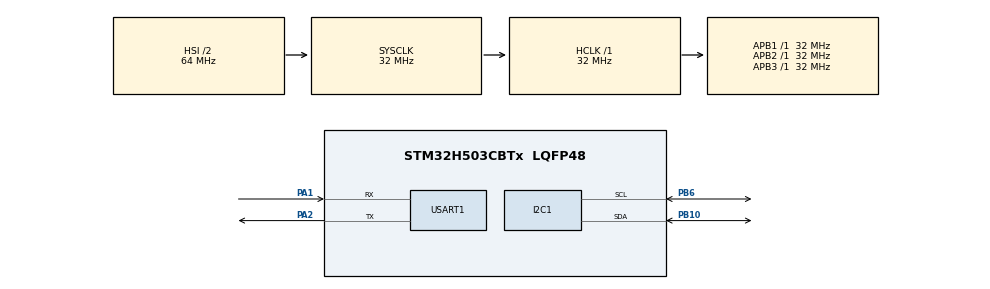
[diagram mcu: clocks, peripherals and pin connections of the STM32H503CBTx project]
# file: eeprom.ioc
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BOOTPATH.BootPathName=LEGACY
BOOTPATH.UserSelectedBootPath=LEGACY
I2C1.Timing=0x00707CBB
Mcu.Family=STM32H5
Mcu.Name=STM32H503CBTx
Mcu.Package=LQFP48
NVIC.PriorityGroup=NVIC_PRIORITYGROUP_4
PA1.Mode=Asynchronous
PA1.Signal=USART1_RX
PA2.Mode=Asynchronous
PA2.Signal=USART1_TX
PB10.GPIO_Pu=GPIO_PULLUP
PB10.Mode=I2C
PB10.Signal=I2C1_SDA
PB6.GPIO_Pu=GPIO_PULLUP
PB6.Mode=I2C
PB6.Signal=I2C1_SCL
PH0-OSC_IN(PH0).Mode=HSE-External-Oscillator
PH0-OSC_IN(PH0).Signal=RCC_OSC_IN
PH1-OSC_OUT(PH1).Mode=HSE-External-Oscillator
PH1-OSC_OUT(PH1).Signal=RCC_OSC_OUT
ProjectManager.HeapSize=0x200
ProjectManager.StackSize=0x400
ProjectManager.TargetToolchain=STM32CubeIDE
RCC.ADCFreq_Value=32000000
RCC.AHBFreq_Value=32000000
RCC.APB1Freq_Value=32000000
RCC.APB1TimFreq_Value=32000000
RCC.APB2Freq_Value=32000000
RCC.APB2TimFreq_Value=32000000
RCC.APB3Freq_Value=32000000
RCC.CSI_VALUE=4000000
RCC.CortexFreq_Value=32000000
RCC.EPOD_VALUE=4000000
RCC.HCLKFreq_Value=32000000
RCC.HSE_VALUE=25000000
RCC.HSI48_VALUE=48000000
RCC.HSI_VALUE=64000000
RCC.LSE_VALUE=32768
RCC.LSIRC_VALUE=32000
RCC.SYSCLKFreq_VALUE=32000000
RCC.USBFreq_Value=48000000
RCC.VCOOutputFreq_Value=516000000
USART1.VirtualMode-Asynchronous=VM_ASYNC
VP_BOOTPATH_VS_BOOTPATH.Mode=BP_Activate
VP_CORTEX_M33_NS_VS_Hclk.Mode=Hclk_Mode
VP_MEMORYMAP_VS_MEMORYMAP.Mode=CurAppReg
VP_PWR_VS_LPOM.Mode=PowerOptimisation
VP_PWR_VS_SECSignals.Mode=Security/Privilege
board=custom

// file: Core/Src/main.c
/* USER CODE BEGIN Header */
/**
  ******************************************************************************
  * @file           : main.c
  * @brief          : Main program body
  ******************************************************************************
  * @attention
  *
  * Copyright (c) 2025 STMicroelectronics.
  * All rights reserved.
  *
  * This software is licensed under terms that can be found in the LICENSE file
  * in the root directory of this software component.
  * If no LICENSE file comes with this software, it is provided AS-IS.
  *
  ******************************************************************************
  */
/* USER CODE END Header */
#include "main.h"

/* USER CODE BEGIN PD */
#define addrEPP 0x50<<1
/* USER CODE END PD */

I2C_HandleTypeDef hi2c1;

UART_HandleTypeDef huart1;

void SystemClock_Config(void);
static void MX_GPIO_Init(void);
static void MX_I2C1_Init(void);
static void MX_USART1_UART_Init(void);
/* USER CODE BEGIN PFP */
void I2C_Scan(void) {
    uint8_t i;
    uint8_t result;
    for(i=1; i<128; i++) {
    	result = HAL_I2C_IsDeviceReady(&hi2c1, i<<1, 1, 10);
        if(result == HAL_OK) {
            char msg[50];
            sprintf(msg, "Device found at address: 0x%02X\r\n", i);
            HAL_UART_Transmit(&huart1, (uint8_t*)msg, strlen(msg), 100);
        }

    }
}
void Mem_Add(uint16_t memadd,uint8_t *data, uint8_t size){
	uint8_t ad[2];
	ad[0] = memadd>>8 & 0xFF;
	ad[1] = memadd& 0xFF;
	HAL_I2C_Master_Transmit(&hi2c1, addrEPP, ad, 2, 100);
	HAL_I2C_Master_Transmit(&hi2c1, addrEPP, data, size, 100);
	HAL_Delay(10);
}
void Mem_read(uint16_t memadd,uint8_t *data, uint8_t size){
	uint8_t mess_ok[]="Date done \r\n";
	uint8_t trans_ok[]="Transmit done \r\n";
	uint8_t ad[2];
	ad[0] = memadd>>8 & 0xFF ;
	ad[1] = memadd& 0xFF;
	if(HAL_I2C_Master_Transmit(&hi2c1, addrEPP, ad, 2, 100)==HAL_OK){
		HAL_UART_Transmit(&huart1, trans_ok, sizeof(trans_ok)-1, 100);
	}
	HAL_Delay(20);

	    // Чтение данных
	if(HAL_I2C_Master_Receive(&hi2c1, addrEPP | 0x01, data, size, 100)==HAL_OK){
		HAL_UART_Transmit(&huart1, mess_ok, sizeof(mess_ok)-1, 100);
	}

}
/* USER CODE END PFP */

int main(void)
{

  /* MCU Configuration--------------------------------------------------------*/

  /* Reset of all peripherals, Initializes the Flash interface and the Systick. */
  HAL_Init();

  /* Configure the system clock */
  SystemClock_Config();

  /* Initialize all configured peripherals */
  MX_GPIO_Init();
  MX_I2C1_Init();
  MX_USART1_UART_Init();

  /* Infinite loop */
  /* USER CODE BEGIN WHILE */

  uint8_t txt[] = "Aloe";
  Mem_Add(0x1000, txt, sizeof(txt)-1);
  uint8_t Read_data[sizeof(txt)-1] = {0};

  while (1)
  {
    /* USER CODE END WHILE */

	 Mem_read(0x1000, Read_data, sizeof(Read_data)-1);

  }
}

void SystemClock_Config(void)
{
  RCC_OscInitTypeDef RCC_OscInitStruct = {0};
  RCC_ClkInitTypeDef RCC_ClkInitStruct = {0};

  /** Configure the main internal regulator output voltage
  */
  __HAL_PWR_VOLTAGESCALING_CONFIG(PWR_REGULATOR_VOLTAGE_SCALE3);

  while(!__HAL_PWR_GET_FLAG(PWR_FLAG_VOSRDY)) {}

  /** Initializes the RCC Oscillators according to the specified parameters
  * in the RCC_OscInitTypeDef structure.
  */
  RCC_OscInitStruct.OscillatorType = RCC_OSCILLATORTYPE_HSI;
  RCC_OscInitStruct.HSIState = RCC_HSI_ON;
  RCC_OscInitStruct.HSIDiv = RCC_HSI_DIV2;
  RCC_OscInitStruct.HSICalibrationValue = RCC_HSICALIBRATION_DEFAULT;
  RCC_OscInitStruct.PLL.PLLState = RCC_PLL_NONE;
  if (HAL_RCC_OscConfig(&RCC_OscInitStruct) != HAL_OK)
  {
    Error_Handler();
  }

  /** Initializes the CPU, AHB and APB buses clocks
  */
  RCC_ClkInitStruct.ClockType = RCC_CLOCKTYPE_HCLK|RCC_CLOCKTYPE_SYSCLK
                              |RCC_CLOCKTYPE_PCLK1|RCC_CLOCKTYPE_PCLK2
                              |RCC_CLOCKTYPE_PCLK3;
  RCC_ClkInitStruct.SYSCLKSource = RCC_SYSCLKSOURCE_HSI;
  RCC_ClkInitStruct.AHBCLKDivider = RCC_SYSCLK_DIV1;
  RCC_ClkInitStruct.APB1CLKDivider = RCC_HCLK_DIV1;
  RCC_ClkInitStruct.APB2CLKDivider = RCC_HCLK_DIV1;
  RCC_ClkInitStruct.APB3CLKDivider = RCC_HCLK_DIV1;

  if (HAL_RCC_ClockConfig(&RCC_ClkInitStruct, FLASH_LATENCY_1) != HAL_OK)
  {
    Error_Handler();
  }

  /** Configure the programming delay
  */
  __HAL_FLASH_SET_PROGRAM_DELAY(FLASH_PROGRAMMING_DELAY_0);
}

static void MX_I2C1_Init(void)
{

  /* USER CODE BEGIN I2C1_Init 0 */
  GPIO_InitTypeDef GPIO_InitStruct = {0};
  /* USER CODE END I2C1_Init 0 */

  /* USER CODE BEGIN I2C1_Init 1 */
  // Включение тактирования GPIOB
  __HAL_RCC_GPIOB_CLK_ENABLE();

  // Настройка PB6 (SCL)
  GPIO_InitStruct.Pin = GPIO_PIN_6;
  GPIO_InitStruct.Mode = GPIO_MODE_AF_OD;
  GPIO_InitStruct.Pull = GPIO_PULLUP;
  GPIO_InitStruct.Speed = GPIO_SPEED_FREQ_HIGH;
  GPIO_InitStruct.Alternate = GPIO_AF4_I2C1;
  HAL_GPIO_Init(GPIOB, &GPIO_InitStruct);

  // Настройка PB10 (SDA)
  GPIO_InitStruct.Pin = GPIO_PIN_10;
  HAL_GPIO_Init(GPIOB, &GPIO_InitStruct);
  /* USER CODE END I2C1_Init 1 */
  hi2c1.Instance = I2C1;
  hi2c1.Init.Timing = 0x00707CBB;
  hi2c1.Init.OwnAddress1 = 0;
  hi2c1.Init.AddressingMode = I2C_ADDRESSINGMODE_7BIT;
  hi2c1.Init.DualAddressMode = I2C_DUALADDRESS_DISABLE;
  hi2c1.Init.OwnAddress2 = 0;
  hi2c1.Init.OwnAddress2Masks = I2C_OA2_NOMASK;
  hi2c1.Init.GeneralCallMode = I2C_GENERALCALL_DISABLE;
  hi2c1.Init.NoStretchMode = I2C_NOSTRETCH_DISABLE;
  if (HAL_I2C_Init(&hi2c1) != HAL_OK)
  {
    Error_Handler();
  }

  /** Configure Analogue filter
  */
  if (HAL_I2CEx_ConfigAnalogFilter(&hi2c1, I2C_ANALOGFILTER_ENABLE) != HAL_OK)
  {
    Error_Handler();
  }

  /** Configure Digital filter
  */
  if (HAL_I2CEx_ConfigDigitalFilter(&hi2c1, 0) != HAL_OK)
  {
    Error_Handler();
  }

}

static void MX_USART1_UART_Init(void)
{

  huart1.Instance = USART1;
  huart1.Init.BaudRate = 115200;
  huart1.Init.WordLength = UART_WORDLENGTH_8B;
  huart1.Init.StopBits = UART_STOPBITS_1;
  huart1.Init.Parity = UART_PARITY_NONE;
  huart1.Init.Mode = UART_MODE_TX_RX;
  huart1.Init.HwFlowCtl = UART_HWCONTROL_NONE;
  huart1.Init.OverSampling = UART_OVERSAMPLING_16;
  huart1.Init.OneBitSampling = UART_ONE_BIT_SAMPLE_DISABLE;
  huart1.Init.ClockPrescaler = UART_PRESCALER_DIV1;
  huart1.AdvancedInit.AdvFeatureInit = UART_ADVFEATURE_NO_INIT;
  if (HAL_UART_Init(&huart1) != HAL_OK)
  {
    Error_Handler();
  }
  if (HAL_UARTEx_SetTxFifoThreshold(&huart1, UART_TXFIFO_THRESHOLD_1_8) != HAL_OK)
  {
    Error_Handler();
  }
  if (HAL_UARTEx_SetRxFifoThreshold(&huart1, UART_RXFIFO_THRESHOLD_1_8) != HAL_OK)
  {
    Error_Handler();
  }
  if (HAL_UARTEx_DisableFifoMode(&huart1) != HAL_OK)
  {
    Error_Handler();
  }

}

static void MX_GPIO_Init(void)
{

  /* GPIO Ports Clock Enable */
  __HAL_RCC_GPIOH_CLK_ENABLE();
  __HAL_RCC_GPIOA_CLK_ENABLE();
  __HAL_RCC_GPIOB_CLK_ENABLE();

}

void Error_Handler(void)
{
  __disable_irq();
  while (1)
  {
  }
}
